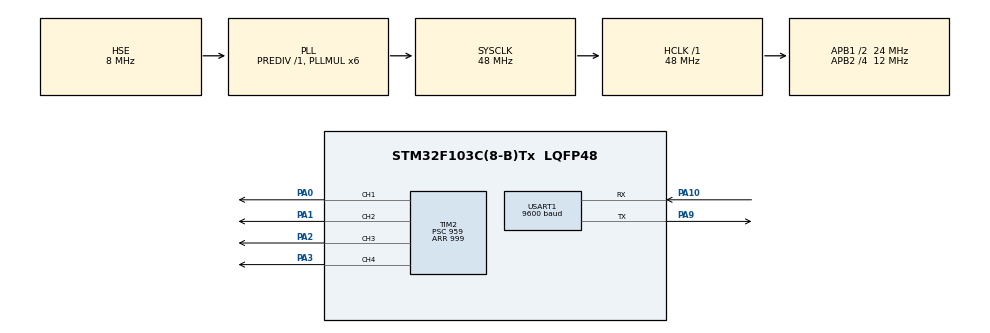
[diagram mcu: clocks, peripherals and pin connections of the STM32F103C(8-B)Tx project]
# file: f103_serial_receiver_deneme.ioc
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Mcu.Family=STM32F1
Mcu.Name=STM32F103C(8-B)Tx
Mcu.Package=LQFP48
NVIC.PriorityGroup=NVIC_PRIORITYGROUP_4
NVIC.USART1_IRQn=true\:0\:0\:false\:false\:true\:true\:true
PA0-WKUP.Signal=S_TIM2_CH1_ETR
PA1.Signal=S_TIM2_CH2
PA10.Mode=Asynchronous
PA10.Signal=USART1_RX
PA13.Mode=Serial_Wire
PA13.Signal=SYS_JTMS-SWDIO
PA14.Mode=Serial_Wire
PA14.Signal=SYS_JTCK-SWCLK
PA2.Signal=S_TIM2_CH3
PA3.Signal=S_TIM2_CH4
PA9.Mode=Asynchronous
PA9.Signal=USART1_TX
PD0-OSC_IN.Mode=HSE-External-Oscillator
PD0-OSC_IN.Signal=RCC_OSC_IN
PD1-OSC_OUT.Mode=HSE-External-Oscillator
PD1-OSC_OUT.Signal=RCC_OSC_OUT
ProjectManager.HeapSize=0x200
ProjectManager.StackSize=0x400
ProjectManager.TargetToolchain=MDK-ARM V5.27
RCC.AHBFreq_Value=48000000
RCC.APB1CLKDivider=RCC_HCLK_DIV2
RCC.APB1Freq_Value=24000000
RCC.APB1TimFreq_Value=48000000
RCC.APB2CLKDivider=RCC_HCLK_DIV4
RCC.APB2Freq_Value=12000000
RCC.APB2TimFreq_Value=24000000
RCC.HCLKFreq_Value=48000000
RCC.PLLMUL=RCC_PLL_MUL6
RCC.PLLSourceVirtual=RCC_PLLSOURCE_HSE
RCC.SYSCLKFreq_VALUE=48000000
RCC.SYSCLKSource=RCC_SYSCLKSOURCE_PLLCLK
RCC.USBFreq_Value=48000000
SH.S_TIM2_CH1_ETR.0=TIM2_CH1,PWM Generation1 CH1
SH.S_TIM2_CH2.0=TIM2_CH2,PWM Generation2 CH2
SH.S_TIM2_CH3.0=TIM2_CH3,PWM Generation3 CH3
SH.S_TIM2_CH4.0=TIM2_CH4,PWM Generation4 CH4
TIM2.Channel-PWM\ Generation1\ CH1=TIM_CHANNEL_1
TIM2.Channel-PWM\ Generation2\ CH2=TIM_CHANNEL_2
TIM2.Channel-PWM\ Generation3\ CH3=TIM_CHANNEL_3
TIM2.Channel-PWM\ Generation4\ CH4=TIM_CHANNEL_4
TIM2.Period=999
TIM2.Prescaler=959
USART1.BaudRate=9600
USART1.VirtualMode=VM_ASYNC
board=custom

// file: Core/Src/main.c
/* USER CODE BEGIN Header */
/**
  ******************************************************************************
  * @file           : main.c
  * @brief          : Main program body
  ******************************************************************************
  * @attention
  *
  * <h2><center>&copy; Copyright (c) 2021 STMicroelectronics.
  * All rights reserved.</center></h2>
  *
  * This software component is licensed by ST under BSD 3-Clause license,
  * the "License"; You may not use this file except in compliance with the
  * License. You may obtain a copy of the License at:
  *                        opensource.org/licenses/BSD-3-Clause
  *
  ******************************************************************************
  */
/* USER CODE END Header */
#include "main.h"
#include "rake_uart_servo.h"
/* USER CODE BEGIN Includes */

//int pwm_value=0;
/* USER CODE END Includes */

TIM_HandleTypeDef htim2;
UART_HandleTypeDef huart1;
Rake_Uart_HandleTypeDef ruart1;

void SystemClock_Config(void);
static void MX_GPIO_Init(void);
static void MX_USART1_UART_Init(void);
static void MX_TIM2_Init(void);
/* USER CODE BEGIN PFP */

 void HAL_UART_RxCpltCallback(UART_HandleTypeDef *huart);

/* USER CODE END PFP */

int main(void)
{

  /* MCU Configuration--------------------------------------------------------*/

  /* Reset of all peripherals, Initializes the Flash interface and the Systick. */
  HAL_Init();

  /* Configure the system clock */
  SystemClock_Config();

  /* Initialize all configured peripherals */
  MX_GPIO_Init();
  MX_USART1_UART_Init();
  MX_TIM2_Init();
  /* USER CODE BEGIN 2 */

  HAL_UART_Receive_IT(&huart1,  (uint8_t*)ruart1.Rx_data, 1);	//activate uart rx interrupt every time receiving 1 byte
  PWM_start(&htim2); // starting PWM over timer 1

  /* USER CODE END 2 */

  /* Infinite loop */
  while (1)
  {

    /* USER CODE BEGIN 3 */

	PWM_calculation(); // received servo data are converted to integer values
	PWM_transmission(&htim2); // the converted values are transmitted to the motors

  }
  /* USER CODE END 3 */
}

void SystemClock_Config(void)
{
  RCC_OscInitTypeDef RCC_OscInitStruct = {0};
  RCC_ClkInitTypeDef RCC_ClkInitStruct = {0};

  /** Initializes the RCC Oscillators according to the specified parameters
  * in the RCC_OscInitTypeDef structure.
  */
  RCC_OscInitStruct.OscillatorType = RCC_OSCILLATORTYPE_HSE;
  RCC_OscInitStruct.HSEState = RCC_HSE_ON;
  RCC_OscInitStruct.HSEPredivValue = RCC_HSE_PREDIV_DIV1;
  RCC_OscInitStruct.HSIState = RCC_HSI_ON;
  RCC_OscInitStruct.PLL.PLLState = RCC_PLL_ON;
  RCC_OscInitStruct.PLL.PLLSource = RCC_PLLSOURCE_HSE;
  RCC_OscInitStruct.PLL.PLLMUL = RCC_PLL_MUL6;
  if (HAL_RCC_OscConfig(&RCC_OscInitStruct) != HAL_OK)
  {
    Error_Handler();
  }
  /** Initializes the CPU, AHB and APB buses clocks
  */
  RCC_ClkInitStruct.ClockType = RCC_CLOCKTYPE_HCLK|RCC_CLOCKTYPE_SYSCLK
                              |RCC_CLOCKTYPE_PCLK1|RCC_CLOCKTYPE_PCLK2;
  RCC_ClkInitStruct.SYSCLKSource = RCC_SYSCLKSOURCE_PLLCLK;
  RCC_ClkInitStruct.AHBCLKDivider = RCC_SYSCLK_DIV1;
  RCC_ClkInitStruct.APB1CLKDivider = RCC_HCLK_DIV2;
  RCC_ClkInitStruct.APB2CLKDivider = RCC_HCLK_DIV4;

  if (HAL_RCC_ClockConfig(&RCC_ClkInitStruct, FLASH_LATENCY_1) != HAL_OK)
  {
    Error_Handler();
  }
}

static void MX_TIM2_Init(void)
{

  TIM_MasterConfigTypeDef sMasterConfig = {0};
  TIM_OC_InitTypeDef sConfigOC = {0};

  htim2.Instance = TIM2;
  htim2.Init.Prescaler = 959;
  htim2.Init.CounterMode = TIM_COUNTERMODE_UP;
  htim2.Init.Period = 999;
  htim2.Init.ClockDivision = TIM_CLOCKDIVISION_DIV1;
  htim2.Init.AutoReloadPreload = TIM_AUTORELOAD_PRELOAD_DISABLE;
  if (HAL_TIM_PWM_Init(&htim2) != HAL_OK)
  {
    Error_Handler();
  }
  sMasterConfig.MasterOutputTrigger = TIM_TRGO_RESET;
  sMasterConfig.MasterSlaveMode = TIM_MASTERSLAVEMODE_DISABLE;
  if (HAL_TIMEx_MasterConfigSynchronization(&htim2, &sMasterConfig) != HAL_OK)
  {
    Error_Handler();
  }
  sConfigOC.OCMode = TIM_OCMODE_PWM1;
  sConfigOC.Pulse = 0;
  sConfigOC.OCPolarity = TIM_OCPOLARITY_HIGH;
  sConfigOC.OCFastMode = TIM_OCFAST_DISABLE;
  if (HAL_TIM_PWM_ConfigChannel(&htim2, &sConfigOC, TIM_CHANNEL_1) != HAL_OK)
  {
    Error_Handler();
  }
  if (HAL_TIM_PWM_ConfigChannel(&htim2, &sConfigOC, TIM_CHANNEL_2) != HAL_OK)
  {
    Error_Handler();
  }
  if (HAL_TIM_PWM_ConfigChannel(&htim2, &sConfigOC, TIM_CHANNEL_3) != HAL_OK)
  {
    Error_Handler();
  }
  if (HAL_TIM_PWM_ConfigChannel(&htim2, &sConfigOC, TIM_CHANNEL_4) != HAL_OK)
  {
    Error_Handler();
  }
  HAL_TIM_MspPostInit(&htim2);

}

static void MX_USART1_UART_Init(void)
{

  huart1.Instance = USART1;
  huart1.Init.BaudRate = 9600;
  huart1.Init.WordLength = UART_WORDLENGTH_8B;
  huart1.Init.StopBits = UART_STOPBITS_1;
  huart1.Init.Parity = UART_PARITY_NONE;
  huart1.Init.Mode = UART_MODE_TX_RX;
  huart1.Init.HwFlowCtl = UART_HWCONTROL_NONE;
  huart1.Init.OverSampling = UART_OVERSAMPLING_16;
  if (HAL_UART_Init(&huart1) != HAL_OK)
  {
    Error_Handler();
  }

}

static void MX_GPIO_Init(void)
{

  /* GPIO Ports Clock Enable */
  __HAL_RCC_GPIOD_CLK_ENABLE();
  __HAL_RCC_GPIOA_CLK_ENABLE();

}

/* USER CODE BEGIN 4 */

void HAL_UART_RxCpltCallback(UART_HandleTypeDef *huart)
{
	// *****RECEIVED DATA FORMAT: S111-222-333-444F ******
	//bacic principle: Received data is taken by Rx_data one by one. After,these data add to Rx_buffer until the 'F' bit comes.
	uint8_t i;
	if (huart->Instance == USART1)	//current UART
		{
		if (ruart1.Rx_indx==0) {for (i=0;i<50;i++) ruart1.Rx_Buffer[i]=0;}	//clear Rx_Buffer before receiving new data

		if (ruart1.Rx_data[0]!=70)	//if received data different from ascii 70('F')
			{
			ruart1.Rx_Buffer[ruart1.Rx_indx++]=ruart1.Rx_data[0];	//add data to Rx_Buffer from Rx_data
			}
		else			//if received data = ascii 70('F')
			{
			ruart1.Rx_indx=0;
			ruart1.Transfer_cplt=1;//transfer complete, data is ready to read
			}

		HAL_UART_Receive_IT(&huart1, (uint8_t*)ruart1.Rx_data, 1);	//activate UART receive interrupt every time.
		}
}

/* USER CODE END 4 */

void Error_Handler(void)
{
}

/************************ (C) COPYRIGHT STMicroelectronics *****END OF FILE****/
